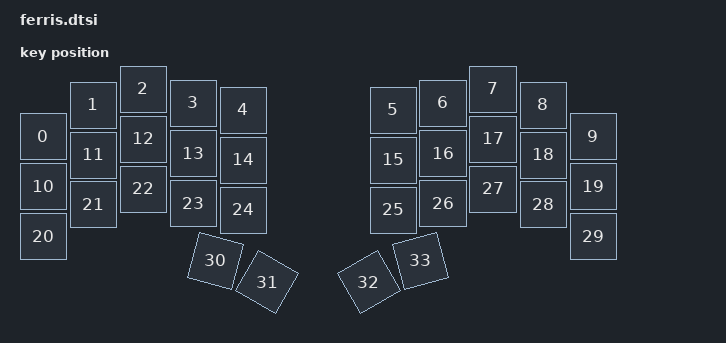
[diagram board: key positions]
#include <physical_layouts.dtsi>

/ {
    cuddlykeyboards_ferris_layout: cuddlykeyboards_ferris_layout {
        compatible = "zmk,physical-layout";
        display-name = "Default";

        keys  //                     w   h    x    y     rot    rx    ry
            = <&key_physical_attrs 100 100    0   95       0     0     0>
            , <&key_physical_attrs 100 100  100   32       0     0     0>
            , <&key_physical_attrs 100 100  200    0       0     0     0>
            , <&key_physical_attrs 100 100  300   28       0     0     0>
            , <&key_physical_attrs 100 100  400   42       0     0     0>
            , <&key_physical_attrs 100 100  700   42       0     0     0>
            , <&key_physical_attrs 100 100  800   28       0     0     0>
            , <&key_physical_attrs 100 100  900    0       0     0     0>
            , <&key_physical_attrs 100 100 1000   32       0     0     0>
            , <&key_physical_attrs 100 100 1100   95       0     0     0>
            , <&key_physical_attrs 100 100    0  195       0     0     0>
            , <&key_physical_attrs 100 100  100  132       0     0     0>
            , <&key_physical_attrs 100 100  200  100       0     0     0>
            , <&key_physical_attrs 100 100  300  129       0     0     0>
            , <&key_physical_attrs 100 100  400  142       0     0     0>
            , <&key_physical_attrs 100 100  700  142       0     0     0>
            , <&key_physical_attrs 100 100  800  129       0     0     0>
            , <&key_physical_attrs 100 100  900  100       0     0     0>
            , <&key_physical_attrs 100 100 1000  132       0     0     0>
            , <&key_physical_attrs 100 100 1100  195       0     0     0>
            , <&key_physical_attrs 100 100    0  295       0     0     0>
            , <&key_physical_attrs 100 100  100  231       0     0     0>
            , <&key_physical_attrs 100 100  200  200       0     0     0>
            , <&key_physical_attrs 100 100  300  229       0     0     0>
            , <&key_physical_attrs 100 100  400  242       0     0     0>
            , <&key_physical_attrs 100 100  700  242       0     0     0>
            , <&key_physical_attrs 100 100  800  229       0     0     0>
            , <&key_physical_attrs 100 100  900  200       0     0     0>
            , <&key_physical_attrs 100 100 1000  231       0     0     0>
            , <&key_physical_attrs 100 100 1100  295       0     0     0>
            , <&key_physical_attrs 100 100  330  355    1500   430   455>
            , <&key_physical_attrs 100 100  430  355    3000   430   455>
            , <&key_physical_attrs 100 100  670  355 (-3000)   770   455>
            , <&key_physical_attrs 100 100  770  355 (-1500)   770   455>
            ;
    };
};
